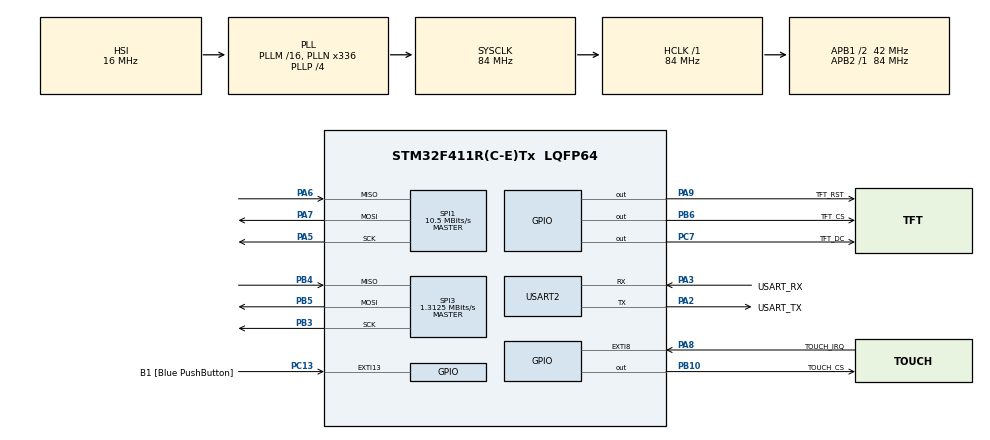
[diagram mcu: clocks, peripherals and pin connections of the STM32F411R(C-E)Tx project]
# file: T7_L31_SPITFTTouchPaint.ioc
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Mcu.Family=STM32F4
Mcu.Name=STM32F411R(C-E)Tx
Mcu.Package=LQFP64
NVIC.EXTI9_5_IRQn=true\:0\:0\:false\:true\:true\:1\:true\:true
NVIC.PriorityGroup=NVIC_PRIORITYGROUP_0
PA13.GPIO_Label=TMS
PA13.Mode=Serial_Wire
PA13.Signal=SYS_JTMS-SWDIO
PA14.GPIO_Label=TCK
PA14.Mode=Serial_Wire
PA14.Signal=SYS_JTCK-SWCLK
PA2.GPIO_Label=USART_TX
PA2.Mode=Asynchronous
PA2.Signal=USART2_TX
PA3.GPIO_Label=USART_RX
PA3.Mode=Asynchronous
PA3.Signal=USART2_RX
PA5.Mode=Full_Duplex_Master
PA5.Signal=SPI1_SCK
PA6.Mode=Full_Duplex_Master
PA6.Signal=SPI1_MISO
PA7.Mode=Full_Duplex_Master
PA7.Signal=SPI1_MOSI
PA8.GPIO_Label=TOUCH_IRQ
PA8.GPIO_ModeDefaultEXTI=GPIO_MODE_IT_FALLING
PA8.Signal=GPXTI8
PA9.GPIO_Label=TFT_RST
PA9.Signal=GPIO_Output
PB10.GPIO_Label=TOUCH_CS
PB10.Signal=GPIO_Output
PB3.Mode=Full_Duplex_Master
PB3.Signal=SPI3_SCK
PB4.Mode=Full_Duplex_Master
PB4.Signal=SPI3_MISO
PB5.Mode=Full_Duplex_Master
PB5.Signal=SPI3_MOSI
PB6.GPIO_Label=TFT_CS
PB6.Signal=GPIO_Output
PC13-ANTI_TAMP.GPIO_Label=B1 [Blue PushButton]
PC13-ANTI_TAMP.GPIO_ModeDefaultEXTI=GPIO_MODE_IT_FALLING
PC13-ANTI_TAMP.Signal=GPXTI13
PC14-OSC32_IN.Mode=LSE-External-Oscillator
PC14-OSC32_IN.Signal=RCC_OSC32_IN
PC15-OSC32_OUT.Mode=LSE-External-Oscillator
PC15-OSC32_OUT.Signal=RCC_OSC32_OUT
PC7.GPIO_Label=TFT_DC
PC7.Signal=GPIO_Output
PH0\ -\ OSC_IN.Mode=HSE-External-Clock-Source
PH0\ -\ OSC_IN.Signal=RCC_OSC_IN
PH1\ -\ OSC_OUT.Mode=HSE-External-Clock-Source
PH1\ -\ OSC_OUT.Signal=RCC_OSC_OUT
ProjectManager.HeapSize=0x200
ProjectManager.StackSize=0x400
ProjectManager.TargetToolchain=STM32CubeIDE
RCC.48MHZClocksFreq_Value=84000000
RCC.AHBFreq_Value=84000000
RCC.APB1CLKDivider=RCC_HCLK_DIV2
RCC.APB1Freq_Value=42000000
RCC.APB1TimFreq_Value=84000000
RCC.APB2Freq_Value=84000000
RCC.APB2TimFreq_Value=84000000
RCC.CortexFreq_Value=84000000
RCC.FLatency-AdvancedSettings=FLASH_LATENCY_2
RCC.HCLKFreq_Value=84000000
RCC.HSE_VALUE=8000000
RCC.HSI_VALUE=16000000
RCC.PLLN=336
RCC.PLLP=RCC_PLLP_DIV4
RCC.SYSCLKFreq_VALUE=84000000
RCC.SYSCLKSource=RCC_SYSCLKSOURCE_PLLCLK
RCC.VCOOutputFreq_Value=336000000
SPI1.BaudRatePrescaler=SPI_BAUDRATEPRESCALER_8
SPI1.CalculateBaudRate=10.5 MBits/s
SPI1.Direction=SPI_DIRECTION_2LINES
SPI1.Mode=SPI_MODE_MASTER
SPI1.VirtualType=VM_MASTER
SPI3.BaudRatePrescaler=SPI_BAUDRATEPRESCALER_32
SPI3.CalculateBaudRate=1.3125 MBits/s
SPI3.Direction=SPI_DIRECTION_2LINES
SPI3.Mode=SPI_MODE_MASTER
SPI3.VirtualType=VM_MASTER
USART2.VirtualMode=VM_ASYNC
board=NUCLEO-F411RE

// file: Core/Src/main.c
/* USER CODE BEGIN Header */
/**
  ******************************************************************************
  * @file           : main.c
  * @brief          : Main program body
  ******************************************************************************
  * @attention
  *
  * <h2><center>&copy; Copyright (c) 2020 STMicroelectronics.
  * All rights reserved.</center></h2>
  *
  * This software component is licensed by ST under BSD 3-Clause license,
  * the "License"; You may not use this file except in compliance with the
  * License. You may obtain a copy of the License at:
  *                        opensource.org/licenses/BSD-3-Clause
  *
  ******************************************************************************
  */
/* USER CODE END Header */
#include "main.h"
#include "spi.h"
#include "usart.h"
#include "gpio.h"

/* USER CODE BEGIN Includes */
#include "TFT_ILI9341.h"
#include "GFX_Color.h"
#include "fonts/fonts.h"
#include "logo.h"
#include "GFX_EnhancedFonts.h"
#include "EnhancedFonts/arialBlack_20ptFontInfo.h"
#include "string.h"
#include "stdio.h"
#include "XPT2046.h"
#include "paint.h"
/* USER CODE END Includes */

/* USER CODE BEGIN PV */
uint8_t Msg[32];

uint16_t Xread, Yread;
/* USER CODE END PV */

void SystemClock_Config(void);
static void MX_NVIC_Init(void);

int main(void)
{

  /* MCU Configuration--------------------------------------------------------*/

  /* Reset of all peripherals, Initializes the Flash interface and the Systick. */
  HAL_Init();

  /* Configure the system clock */
  SystemClock_Config();

  /* Initialize all configured peripherals */
  MX_GPIO_Init();
  MX_USART2_UART_Init();
  MX_SPI1_Init();
  MX_SPI3_Init();

  /* Initialize interrupts */
  MX_NVIC_Init();
  /* USER CODE BEGIN 2 */

  ILI9341_Init(&hspi1);
  XPT2046_Init(&hspi3, EXTI9_5_IRQn);
  GFX_SetFont(font_8x5);
  EF_SetFont(&arialBlack_20ptFontInfo);

//  for(uint16_t i = 0; i < ILI9341_TFTWIDTH; i++)
//  {
//	  for(uint16_t j = 0; j < ILI9341_TFTHEIGHT; j++)
//	  {
//		  ILI9341_WritePixel(i, j, ILI9341_BLUE);
//	  }
//  }

  //ILI9341_DrawImage(0, 50, logo, 240, 72);

//  uint8_t Len = sprintf(Msg, "Nóż");

  //EF_PutString("NÓŻ pękł w ręce", 0, 150, ILI9341_BLACK, BG_TRANSPARENT, ILI9341_WHITE);
  //DoCalibration();
  //ILI9341_ClearDisplay(ILI9341_WHITE);
  /* USER CODE END 2 */

  /* Infinite loop */
  /* USER CODE BEGIN WHILE */
  while (1)
  {

	  XPT2046_Task();

	  Paint();
    /* USER CODE END WHILE */

  }
}

void SystemClock_Config(void)
{
  RCC_OscInitTypeDef RCC_OscInitStruct = {0};
  RCC_ClkInitTypeDef RCC_ClkInitStruct = {0};

  /** Configure the main internal regulator output voltage
  */
  __HAL_RCC_PWR_CLK_ENABLE();
  __HAL_PWR_VOLTAGESCALING_CONFIG(PWR_REGULATOR_VOLTAGE_SCALE1);
  /** Initializes the RCC Oscillators according to the specified parameters
  * in the RCC_OscInitTypeDef structure.
  */
  RCC_OscInitStruct.OscillatorType = RCC_OSCILLATORTYPE_HSI;
  RCC_OscInitStruct.HSIState = RCC_HSI_ON;
  RCC_OscInitStruct.HSICalibrationValue = RCC_HSICALIBRATION_DEFAULT;
  RCC_OscInitStruct.PLL.PLLState = RCC_PLL_ON;
  RCC_OscInitStruct.PLL.PLLSource = RCC_PLLSOURCE_HSI;
  RCC_OscInitStruct.PLL.PLLM = 16;
  RCC_OscInitStruct.PLL.PLLN = 336;
  RCC_OscInitStruct.PLL.PLLP = RCC_PLLP_DIV4;
  RCC_OscInitStruct.PLL.PLLQ = 4;
  if (HAL_RCC_OscConfig(&RCC_OscInitStruct) != HAL_OK)
  {
    Error_Handler();
  }
  /** Initializes the CPU, AHB and APB buses clocks
  */
  RCC_ClkInitStruct.ClockType = RCC_CLOCKTYPE_HCLK|RCC_CLOCKTYPE_SYSCLK
                              |RCC_CLOCKTYPE_PCLK1|RCC_CLOCKTYPE_PCLK2;
  RCC_ClkInitStruct.SYSCLKSource = RCC_SYSCLKSOURCE_PLLCLK;
  RCC_ClkInitStruct.AHBCLKDivider = RCC_SYSCLK_DIV1;
  RCC_ClkInitStruct.APB1CLKDivider = RCC_HCLK_DIV2;
  RCC_ClkInitStruct.APB2CLKDivider = RCC_HCLK_DIV1;

  if (HAL_RCC_ClockConfig(&RCC_ClkInitStruct, FLASH_LATENCY_2) != HAL_OK)
  {
    Error_Handler();
  }
}

/**
  * @brief NVIC Configuration.
  * @retval None
  */
static void MX_NVIC_Init(void)
{
  /* EXTI9_5_IRQn interrupt configuration */
  HAL_NVIC_SetPriority(EXTI9_5_IRQn, 0, 0);
  HAL_NVIC_EnableIRQ(EXTI9_5_IRQn);
}

/* USER CODE BEGIN 4 */
void HAL_GPIO_EXTI_Callback(uint16_t GPIO_Pin)
{
	if(GPIO_Pin == TOUCH_IRQ_Pin)
	{
		XPT2046_IRQ();
	}
}
/* USER CODE END 4 */

void Error_Handler(void)
{
}

/************************ (C) COPYRIGHT STMicroelectronics *****END OF FILE****/
